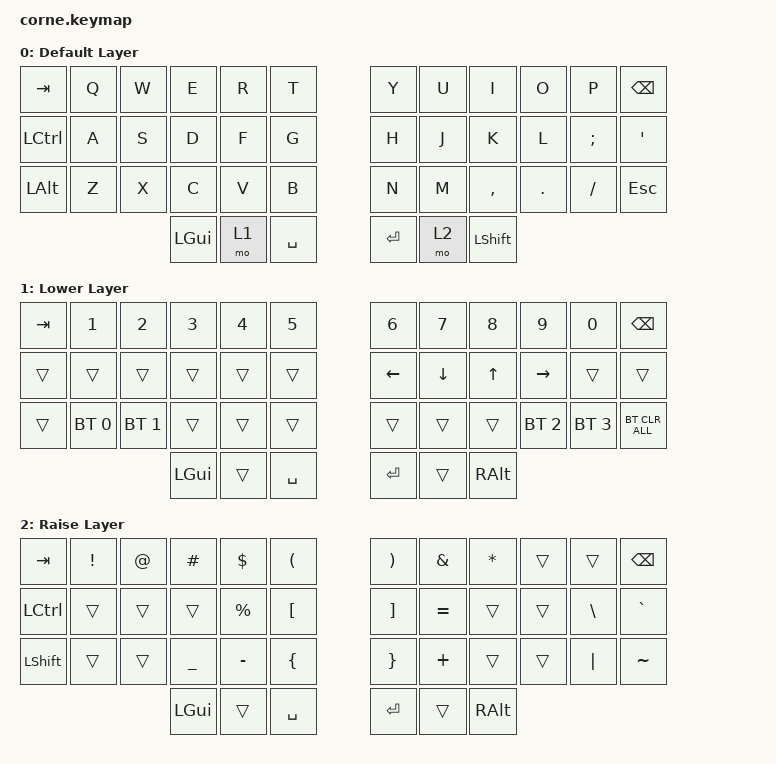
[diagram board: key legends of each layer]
/*
 * Copyright (c) 2020 The ZMK Contributors
 *
 * SPDX-License-Identifier: MIT
 */

#include <behaviors.dtsi>
#include <dt-bindings/zmk/bt.h>
#include <dt-bindings/zmk/keys.h>

/ {
    keymap {
        compatible = "zmk,keymap";

        default_layer {
            display-name = "Default Layer";

            // -----------------------------------------------------------------------------------------
            // |  TAB |  Q  |  W  |  E  |  R  |  T  |   |  Y  |  U   |  I  |  O  |  P  | BSPC |
            // | CTRL |  A  |  S  |  D  |  F  |  G  |   |  H  |  J   |  K  |  L  |  ;  |  '   |
            // | SHFT |  Z  |  X  |  C  |  V  |  B  |   |  N  |  M   |  ,  |  .  |  /  | ESC  |
            //                    | GUI | LWR | SPC |   | ENT | RSE  | ALT |

            bindings = <
&kp TAB    &kp Q  &kp W  &kp E     &kp R  &kp T        &kp Y    &kp U  &kp I      &kp O    &kp P     &kp BSPC
&kp LCTRL  &kp A  &kp S  &kp D     &kp F  &kp G        &kp H    &kp J  &kp K      &kp L    &kp SEMI  &kp SQT
&kp LALT   &kp Z  &kp X  &kp C     &kp V  &kp B        &kp N    &kp M  &kp COMMA  &kp DOT  &kp FSLH  &kp ESC
                         &kp LGUI  &mo 1  &kp SPACE    &kp RET  &mo 2  &kp LSHFT
            >;
        };

        lower_layer {
            display-name = "Lower Layer";

            // -----------------------------------------------------------------------------------------
            // |  TAB |  1  |  2  |  3  |  4  |  5  |   |  6  |  7  |  8  |  9  |  0  | BSPC |
            // | BTCLR| BT1 | BT2 | BT3 | BT4 | BT5 |   | LFT | DWN |  UP | RGT |     |      |
            // | SHFT |     |     |     |     |     |   |     |     |     |     |     |      |
            //                    | GUI |     | SPC |   | ENT |     | ALT |

            bindings = <
&kp TAB  &kp N1        &kp N2        &kp N3    &kp N4  &kp N5       &kp N6    &kp N7    &kp N8    &kp N9        &kp N0        &kp BSPC
&trans   &trans        &trans        &trans    &trans  &trans       &kp LEFT  &kp DOWN  &kp UP    &kp RIGHT     &trans        &trans
&trans   &bt BT_SEL 0  &bt BT_SEL 1  &trans    &trans  &trans       &trans    &trans    &trans    &bt BT_SEL 2  &bt BT_SEL 3  &bt BT_CLR_ALL
                                     &kp LGUI  &trans  &kp SPACE    &kp RET   &trans    &kp RALT
            >;
        };

        raise_layer {
            display-name = "Raise Layer";

            // -----------------------------------------------------------------------------------------
            // |  TAB |  !  |  @  |  #  |  $  |  %  |   |  ^  |  &  |  *  |  (  |  )  | BSPC |
            // | CTRL |     |     |     |     |     |   |  -  |  =  |  [  |  ]  |  \  |  `   |
            // | SHFT |     |     |     |     |     |   |  _  |  +  |  {  |  }  | "|" |  ~   |
            //                    | GUI |     | SPC |   | ENT |     | ALT |

            bindings = <
&kp TAB    &kp EXCL  &kp AT  &kp HASH   &kp DLLR   &kp LEFT_PARENTHESIS    &kp RIGHT_PARENTHESIS  &kp AMPS   &kp ASTRK  &trans  &trans    &kp BSPC
&kp LCTRL  &trans    &trans  &trans     &kp PRCNT  &kp LBKT                &kp RBKT               &kp EQUAL  &trans     &trans  &kp BSLH  &kp GRAVE
&kp LSHFT  &trans    &trans  &kp UNDER  &kp MINUS  &kp LEFT_BRACE          &kp RIGHT_BRACE        &kp PLUS   &trans     &trans  &kp PIPE  &kp TILDE
                             &kp LGUI   &trans     &kp SPACE               &kp RET                &trans     &kp RALT
            >;
        };
    };
};
